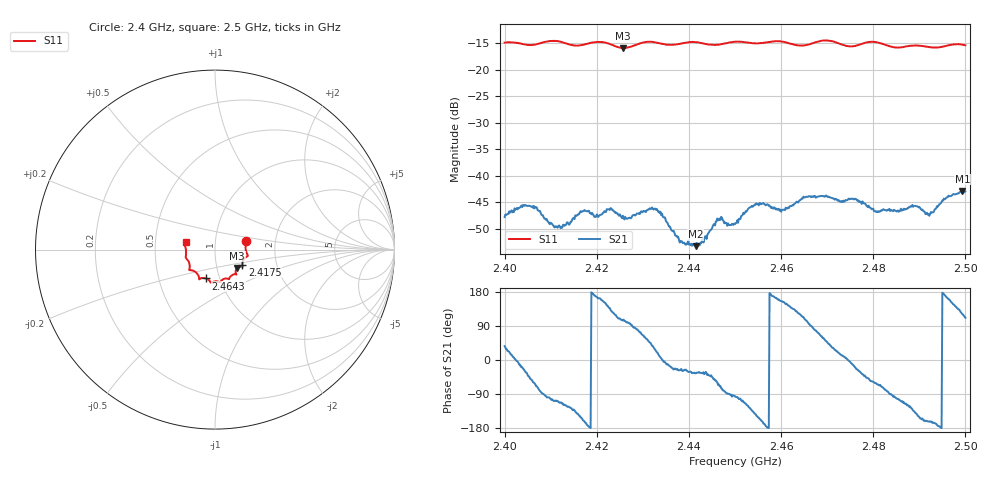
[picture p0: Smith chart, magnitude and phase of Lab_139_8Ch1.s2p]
# Hz S RI R 50
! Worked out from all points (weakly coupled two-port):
!   601 points, 2.4 GHz to 2.5 GHz, reference 50 ohm
!   highest |S21| = -42.84 dB at 2.4993 GHz (marker M1); lowest = -53.2 dB at 2.4415 GHz (marker M2)
!   lowest |S11| = -15.9 dB at 2.4257 GHz (marker M3), VSWR 1.38, Z = 62.5 - j13.1 ohm
!   |S11| at or under -10 dB: start of sweep to end of sweep
!   S12 and S22 are empty: the file has one direction only
!   S11 on the Smith chart (normalised r, x): 2.4 GHz: 1.41, +0.14; 2.4175 GHz: 1.34, -0.23; 2.4643 GHz: 0.86, -0.28; 2.5 GHz: 0.72, +0.06
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2.4e9  0.173 0.0486  0.00328 0.00244  0 0  0 0
2.405833e9  0.1703 0.00417  0.00314 -0.00404  0 0  0 0
2.412e9  0.1802 -0.0374  -0.0013 -0.00306  0 0  0 0
2.416667e9  0.1529 -0.0742  -0.00404 -0.0021  0 0  0 0
2.4175e9  0.1518 -0.0836  -0.00453 -0.00118  0 0  0 0
2.42e9  0.1539 -0.0974  -0.00421 0.001  0 0  0 0
2.423e9  0.1454 -0.0941  -0.00334 0.00367  0 0  0 0
2.425667e9  0.1227 -0.1019  -0.00102 0.00408  0 0  0 0
2.433333e9  0.1132 -0.1373  0.00442 0.00122  0 0  0 0
2.438333e9  0.0813 -0.1559  0.00221 -0.000966  0 0  0 0
2.4415e9  0.0759 -0.1648  0.00178 -0.00125  0 0  0 0
2.446667e9  0.0427 -0.1671  0.0014 -0.0037  0 0  0 0
2.45e9  0.029 -0.1809  -0.000356 -0.00349  0 0  0 0
2.4545e9  0.0063 -0.1766  -0.0043 -0.00319  0 0  0 0
2.460333e9  -0.0253 -0.1816  -0.00428 0.00216  0 0  0 0
2.464333e9  -0.0499 -0.1606  -0.00278 0.00532  0 0  0 0
2.466667e9  -0.0757 -0.1591  0.00013 0.00642  0 0  0 0
2.483333e9  -0.1408 -0.0901  0.000302 -0.00475  0 0  0 0
2.489e9  -0.1627 -0.0451  -0.00382 -0.00355  0 0  0 0
2.492333e9  -0.1612 -0.0219  -0.00417 -0.00126  0 0  0 0
2.499333e9  -0.1673 0.0393  -0.00374 0.00617  0 0  0 0
2.5e9  -0.1641 0.0432  -0.00262 0.00664  0 0  0 0
